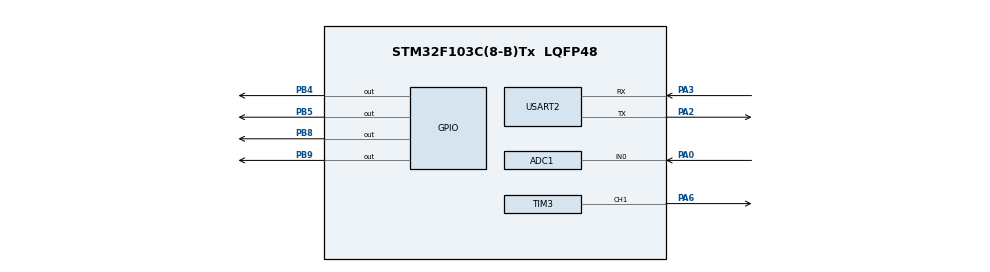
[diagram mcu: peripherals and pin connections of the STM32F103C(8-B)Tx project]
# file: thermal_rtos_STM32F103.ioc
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ADC1.Channel-0\#ChannelRegularConversion=ADC_CHANNEL_0
ADC1.NbrOfConversionFlag=1
ADC1.Rank-0\#ChannelRegularConversion=1
ADC1.SamplingTime-0\#ChannelRegularConversion=ADC_SAMPLETIME_1CYCLE_5
ADC1.master=1
FREERTOS.INCLUDE_vTaskDelayUntil=1
FREERTOS.Tasks01=defaultTask,0,128,StartDefaultTask,Default,NULL,Dynamic,NULL,NULL;ControlTask,2,512,Control_Task,Default,NULL,Dynamic,NULL,NULL;InputTask,0,512,Input_Task,Default,NULL,Dynamic,NULL,NULL;LoggingTask,-2,512,Logging_Task,Default,NULL,Dynamic,NULL,NULL
FREERTOS.configTOTAL_HEAP_SIZE=6000
Mcu.Family=STM32F1
Mcu.Name=STM32F103C(8-B)Tx
Mcu.Package=LQFP48
NVIC.PriorityGroup=NVIC_PRIORITYGROUP_4
NVIC.USART2_IRQn=true\:5\:0\:false\:false\:true\:true\:true\:true\:true
PA0-WKUP.Signal=ADCx_IN0
PA13.Mode=Serial_Wire
PA13.Signal=SYS_JTMS-SWDIO
PA14.Mode=Serial_Wire
PA14.Signal=SYS_JTCK-SWCLK
PA2.Mode=Asynchronous
PA2.Signal=USART2_TX
PA3.Mode=Asynchronous
PA3.Signal=USART2_RX
PA6.Signal=S_TIM3_CH1
PB4.Signal=GPIO_Output
PB5.Signal=GPIO_Output
PB8.Signal=GPIO_Output
PB9.Signal=GPIO_Output
PC14-OSC32_IN.Mode=LSE-External-Oscillator
PC14-OSC32_IN.Signal=RCC_OSC32_IN
PC15-OSC32_OUT.Mode=LSE-External-Oscillator
PC15-OSC32_OUT.Signal=RCC_OSC32_OUT
PD0-OSC_IN.Mode=HSE-External-Oscillator
PD0-OSC_IN.Signal=RCC_OSC_IN
PD1-OSC_OUT.Mode=HSE-External-Oscillator
PD1-OSC_OUT.Signal=RCC_OSC_OUT
ProjectManager.HeapSize=0x200
ProjectManager.StackSize=0x400
ProjectManager.TargetToolchain=STM32CubeIDE
RCC.APB1Freq_Value=8000000
RCC.APB2Freq_Value=8000000
SH.ADCx_IN0.0=ADC1_IN0,IN0
SH.S_TIM3_CH1.0=TIM3_CH1,PWM Generation1 CH1
TIM3.Channel-PWM\ Generation1\ CH1=TIM_CHANNEL_1
TIM3.Period=999
TIM3.Prescaler=7
USART2.VirtualMode=VM_ASYNC
VP_FREERTOS_VS_CMSIS_V1.Mode=CMSIS_V1
board=custom

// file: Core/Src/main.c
/* USER CODE BEGIN Header */
/**
  ******************************************************************************
  * @file           : main.c
  * @brief          : Main program body
  ******************************************************************************
  * @attention
  *
  * Copyright (c) 2026 STMicroelectronics.
  * All rights reserved.
  *
  * This software is licensed under terms that can be found in the LICENSE file
  * in the root directory of this software component.
  * If no LICENSE file comes with this software, it is provided AS-IS.
  *
  ******************************************************************************
  */
/* USER CODE END Header */
#include "main.h"
#include "cmsis_os.h"

/* USER CODE BEGIN Includes */
#include "thermal_project_v2.h"
#include "stdio.h"
#include "queue.h"
/* USER CODE END Includes */

ADC_HandleTypeDef hadc1;

TIM_HandleTypeDef htim3;

UART_HandleTypeDef huart2;

osThreadId defaultTaskHandle;
osThreadId ControlTaskHandle;
osThreadId InputTaskHandle;
osThreadId LoggingTaskHandle;
/* USER CODE BEGIN PV */
typedef enum
{
    MODE_NONE = 0,
    MODE_PRESET = 1,
    MODE_POT = 2
} SystemMode_t;

typedef struct
{
    uint8_t mode;
    float set_temp;
    float temp;
} InputMsg_t;

typedef struct
{
    uint32_t time_ms;
    float temp;
    float pwm;
    float fault;
    float set_temp;
    uint8_t mode;
} LogMsg_t;

QueueHandle_t qSetTempHandle;
QueueHandle_t qLogHandle;

volatile uint8_t g_boot_done = 0;
volatile uint32_t input_pwm = 0;
volatile uint32_t adc_raw = 0;
/* USER CODE END PV */

void SystemClock_Config(void);
static void MX_GPIO_Init(void);
static void MX_ADC1_Init(void);
static void MX_TIM3_Init(void);
static void MX_USART2_UART_Init(void);
void StartDefaultTask(void const * argument);
void Control_Task(void const * argument);
void Input_Task(void const * argument);
void Logging_Task(void const * argument);

/* USER CODE BEGIN PFP */
uint32_t Read_ADC_Value(uint32_t channel);
/* USER CODE END PFP */

/* USER CODE BEGIN 0 */
int _write(int file, char *ptr, int len)
{
  HAL_UART_Transmit(&huart2, (uint8_t *)ptr, len, HAL_MAX_DELAY);
  return len;
}
/* USER CODE END 0 */

int main(void)
{

  /* MCU Configuration--------------------------------------------------------*/

  /* Reset of all peripherals, Initializes the Flash interface and the Systick. */
  HAL_Init();

  /* Configure the system clock */
  SystemClock_Config();

  /* Initialize all configured peripherals */
  MX_GPIO_Init();
  MX_ADC1_Init();
  MX_TIM3_Init();
  MX_USART2_UART_Init();
  /* USER CODE BEGIN 2 */
  qSetTempHandle = xQueueCreate(1, sizeof(InputMsg_t));
  qLogHandle     = xQueueCreate(8, sizeof(LogMsg_t));

  if (qSetTempHandle == NULL || qLogHandle == NULL)
  {
      Error_Handler();
  }
  /* USER CODE END 2 */

  /* Create the thread(s) */
  /* definition and creation of defaultTask */
  osThreadDef(defaultTask, StartDefaultTask, osPriorityNormal, 0, 128);
  defaultTaskHandle = osThreadCreate(osThread(defaultTask), NULL);

  /* definition and creation of ControlTask */
  osThreadDef(ControlTask, Control_Task, osPriorityHigh, 0, 512);
  ControlTaskHandle = osThreadCreate(osThread(ControlTask), NULL);

  /* definition and creation of InputTask */
  osThreadDef(InputTask, Input_Task, osPriorityNormal, 0, 512);
  InputTaskHandle = osThreadCreate(osThread(InputTask), NULL);

  /* definition and creation of LoggingTask */
  osThreadDef(LoggingTask, Logging_Task, osPriorityLow, 0, 512);
  LoggingTaskHandle = osThreadCreate(osThread(LoggingTask), NULL);

  /* Start scheduler */
  osKernelStart();

  /* We should never get here as control is now taken by the scheduler */

  /* Infinite loop */
  while (1)
  {

  }
}

void SystemClock_Config(void)
{
  RCC_OscInitTypeDef RCC_OscInitStruct = {0};
  RCC_ClkInitTypeDef RCC_ClkInitStruct = {0};
  RCC_PeriphCLKInitTypeDef PeriphClkInit = {0};

  /** Initializes the RCC Oscillators according to the specified parameters
  * in the RCC_OscInitTypeDef structure.
  */
  RCC_OscInitStruct.OscillatorType = RCC_OSCILLATORTYPE_HSI;
  RCC_OscInitStruct.HSIState = RCC_HSI_ON;
  RCC_OscInitStruct.HSICalibrationValue = RCC_HSICALIBRATION_DEFAULT;
  RCC_OscInitStruct.PLL.PLLState = RCC_PLL_NONE;
  if (HAL_RCC_OscConfig(&RCC_OscInitStruct) != HAL_OK)
  {
    Error_Handler();
  }

  /** Initializes the CPU, AHB and APB buses clocks
  */
  RCC_ClkInitStruct.ClockType = RCC_CLOCKTYPE_HCLK|RCC_CLOCKTYPE_SYSCLK
                              |RCC_CLOCKTYPE_PCLK1|RCC_CLOCKTYPE_PCLK2;
  RCC_ClkInitStruct.SYSCLKSource = RCC_SYSCLKSOURCE_HSI;
  RCC_ClkInitStruct.AHBCLKDivider = RCC_SYSCLK_DIV1;
  RCC_ClkInitStruct.APB1CLKDivider = RCC_HCLK_DIV1;
  RCC_ClkInitStruct.APB2CLKDivider = RCC_HCLK_DIV1;

  if (HAL_RCC_ClockConfig(&RCC_ClkInitStruct, FLASH_LATENCY_0) != HAL_OK)
  {
    Error_Handler();
  }
  PeriphClkInit.PeriphClockSelection = RCC_PERIPHCLK_ADC;
  PeriphClkInit.AdcClockSelection = RCC_ADCPCLK2_DIV2;
  if (HAL_RCCEx_PeriphCLKConfig(&PeriphClkInit) != HAL_OK)
  {
    Error_Handler();
  }
}

static void MX_ADC1_Init(void)
{

  ADC_ChannelConfTypeDef sConfig = {0};

  /** Common config
  */
  hadc1.Instance = ADC1;
  hadc1.Init.ScanConvMode = ADC_SCAN_DISABLE;
  hadc1.Init.ContinuousConvMode = DISABLE;
  hadc1.Init.DiscontinuousConvMode = DISABLE;
  hadc1.Init.ExternalTrigConv = ADC_SOFTWARE_START;
  hadc1.Init.DataAlign = ADC_DATAALIGN_RIGHT;
  hadc1.Init.NbrOfConversion = 1;
  if (HAL_ADC_Init(&hadc1) != HAL_OK)
  {
    Error_Handler();
  }

  /** Configure Regular Channel
  */
  sConfig.Channel = ADC_CHANNEL_0;
  sConfig.Rank = ADC_REGULAR_RANK_1;
  sConfig.SamplingTime = ADC_SAMPLETIME_1CYCLE_5;
  if (HAL_ADC_ConfigChannel(&hadc1, &sConfig) != HAL_OK)
  {
    Error_Handler();
  }

}

static void MX_TIM3_Init(void)
{

  TIM_MasterConfigTypeDef sMasterConfig = {0};
  TIM_OC_InitTypeDef sConfigOC = {0};

  htim3.Instance = TIM3;
  htim3.Init.Prescaler = 7;
  htim3.Init.CounterMode = TIM_COUNTERMODE_UP;
  htim3.Init.Period = 999;
  htim3.Init.ClockDivision = TIM_CLOCKDIVISION_DIV1;
  htim3.Init.AutoReloadPreload = TIM_AUTORELOAD_PRELOAD_DISABLE;
  if (HAL_TIM_PWM_Init(&htim3) != HAL_OK)
  {
    Error_Handler();
  }
  sMasterConfig.MasterOutputTrigger = TIM_TRGO_RESET;
  sMasterConfig.MasterSlaveMode = TIM_MASTERSLAVEMODE_DISABLE;
  if (HAL_TIMEx_MasterConfigSynchronization(&htim3, &sMasterConfig) != HAL_OK)
  {
    Error_Handler();
  }
  sConfigOC.OCMode = TIM_OCMODE_PWM1;
  sConfigOC.Pulse = 0;
  sConfigOC.OCPolarity = TIM_OCPOLARITY_HIGH;
  sConfigOC.OCFastMode = TIM_OCFAST_DISABLE;
  if (HAL_TIM_PWM_ConfigChannel(&htim3, &sConfigOC, TIM_CHANNEL_1) != HAL_OK)
  {
    Error_Handler();
  }
  HAL_TIM_MspPostInit(&htim3);

}

static void MX_USART2_UART_Init(void)
{

  huart2.Instance = USART2;
  huart2.Init.BaudRate = 115200;
  huart2.Init.WordLength = UART_WORDLENGTH_8B;
  huart2.Init.StopBits = UART_STOPBITS_1;
  huart2.Init.Parity = UART_PARITY_NONE;
  huart2.Init.Mode = UART_MODE_TX_RX;
  huart2.Init.HwFlowCtl = UART_HWCONTROL_NONE;
  huart2.Init.OverSampling = UART_OVERSAMPLING_16;
  if (HAL_UART_Init(&huart2) != HAL_OK)
  {
    Error_Handler();
  }

}

static void MX_GPIO_Init(void)
{
  GPIO_InitTypeDef GPIO_InitStruct = {0};

  /* GPIO Ports Clock Enable */
  __HAL_RCC_GPIOC_CLK_ENABLE();
  __HAL_RCC_GPIOD_CLK_ENABLE();
  __HAL_RCC_GPIOA_CLK_ENABLE();
  __HAL_RCC_GPIOB_CLK_ENABLE();

  /*Configure GPIO pin Output Level */
  HAL_GPIO_WritePin(GPIOB, GPIO_PIN_4|GPIO_PIN_5|GPIO_PIN_8|GPIO_PIN_9, GPIO_PIN_RESET);

  /*Configure GPIO pins : PB4 PB5 PB8 PB9 */
  GPIO_InitStruct.Pin = GPIO_PIN_4|GPIO_PIN_5|GPIO_PIN_8|GPIO_PIN_9;
  GPIO_InitStruct.Mode = GPIO_MODE_OUTPUT_PP;
  GPIO_InitStruct.Pull = GPIO_NOPULL;
  GPIO_InitStruct.Speed = GPIO_SPEED_FREQ_LOW;
  HAL_GPIO_Init(GPIOB, &GPIO_InitStruct);

}

/* USER CODE BEGIN 4 */
/* USER CODE BEGIN 4 */
uint32_t Read_ADC_Value(uint32_t channel)
{
  uint32_t adc_value = 0;
  ADC_ChannelConfTypeDef sConfig = {0};

  sConfig.Channel = channel;
  sConfig.Rank = 1;
  sConfig.SamplingTime = ADC_SAMPLETIME_71CYCLES_5;

  HAL_ADC_ConfigChannel(&hadc1, &sConfig);

  HAL_ADC_Start(&hadc1);
  HAL_ADC_PollForConversion(&hadc1, HAL_MAX_DELAY);
  adc_value = HAL_ADC_GetValue(&hadc1);
  HAL_ADC_Stop(&hadc1);

  return adc_value;
}

__weak void HAL_GPIO_EXTI_Callback(uint16_t GPIO_Pin)
{

	if (GPIO_Pin == GPIO_PIN_13){
        __HAL_TIM_SET_COMPARE(&htim3, TIM_CHANNEL_1, 0);
        __disable_irq();
        while(1);
	}
}

/* USER CODE END 4 */

void StartDefaultTask(void const * argument)
{
  for(;;)
  {
    osDelay(1);
  }
}

void Control_Task(void const * argument)
{
  /* USER CODE BEGIN Control_Task */

    thermal_project_v2_initialize();

    while (g_boot_done == 0)
    {
        vTaskDelay(pdMS_TO_TICKS(50));
    }

    TickType_t xLastWakeTime = xTaskGetTickCount();
    uint32_t start_time = HAL_GetTick();

    InputMsg_t rxMsg;
    LogMsg_t logMsg;

    if (xQueueReceive(qSetTempHandle, &rxMsg, portMAX_DELAY) != pdPASS)
    {
        Error_Handler();
    }

    //PWM for FAN Setting
    HAL_TIM_PWM_Start(&htim3, TIM_CHANNEL_1);
    HAL_GPIO_WritePin(GPIOB, GPIO_PIN_9, GPIO_PIN_SET);
    HAL_GPIO_WritePin(GPIOB, GPIO_PIN_8, GPIO_PIN_RESET);

    __HAL_TIM_SET_COMPARE(&htim3, TIM_CHANNEL_1, 999);
    vTaskDelay(pdMS_TO_TICKS(200));

    for(;;)
    {
        if (xQueueReceive(qSetTempHandle, &rxMsg, 0) == pdPASS)
        {
        }

        thermal_project_v2_U.set_temp   = rxMsg.set_temp;
        thermal_project_v2_U.temp = rxMsg.temp;

        thermal_project_v2_step();

        float pwm   = (float)thermal_project_v2_Y.pwm_out;
        float fault = (float)thermal_project_v2_Y.fault_flag;
        input_pwm = (uint32_t) (pwm * 9.99f);

        // PWM for FAN
        __HAL_TIM_SET_COMPARE(&htim3, TIM_CHANNEL_1, input_pwm);

        /*if (fault > 0.5f || rxMsg.temp > 70.0f)
        {
            HAL_GPIO_WritePin(GPIOB, GPIO_PIN_4, GPIO_PIN_SET);
            HAL_GPIO_WritePin(GPIOB, GPIO_PIN_5, GPIO_PIN_RESET);
        }
        else
        {
            HAL_GPIO_WritePin(GPIOB, GPIO_PIN_5, GPIO_PIN_SET);
            HAL_GPIO_WritePin(GPIOB, GPIO_PIN_4, GPIO_PIN_RESET);
        }*/

        logMsg.time_ms  = HAL_GetTick() - start_time;
        logMsg.temp     = rxMsg.temp;
        logMsg.pwm      = pwm;
        logMsg.fault    = fault;
        logMsg.set_temp = rxMsg.set_temp;
        logMsg.mode     = rxMsg.mode;

        //xQueueSend(qLogHandle, &logMsg, 0);

        vTaskDelayUntil(&xLastWakeTime, pdMS_TO_TICKS(100));
    }

  /* USER CODE END Control_Task */
}

void Input_Task(void const * argument)
{
  /* USER CODE BEGIN Input_Task */
    InputMsg_t txMsg;
    uint8_t rx_char = 0;

    txMsg.mode = MODE_POT;
    txMsg.set_temp = 28.0f;

    adc_raw = Read_ADC_Value(ADC_CHANNEL_0);
    txMsg.temp = ((float)adc_raw * 330.0f / 4095.0f);
    xQueueOverwrite(qSetTempHandle, &txMsg);
    g_boot_done = 1;

    for (;;)
    {
            adc_raw = Read_ADC_Value(ADC_CHANNEL_0);

            txMsg.temp = ((float)adc_raw * 330.0f / 4095.0f);
            txMsg.set_temp = 28.0f;

            xQueueOverwrite(qSetTempHandle, &txMsg);

        vTaskDelay(pdMS_TO_TICKS(100));
    }

  /* USER CODE END Input_Task */
}

void Logging_Task(void const * argument)
{
  /* USER CODE BEGIN Logging_Task */
  for(;;)
  {
    osDelay(portMAX_DELAY); // 아무것도 안 하고 영원히 대기
  }
  /* USER CODE END Logging_Task */
}

void Error_Handler(void)
{
  __disable_irq();
  while (1)
  {
  }
}
